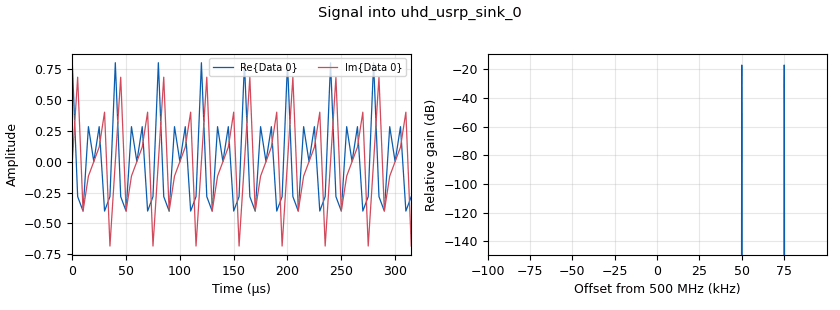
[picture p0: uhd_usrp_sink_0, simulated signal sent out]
<?xml version='1.0' encoding='utf-8'?>
<?grc format='1' created='3.7.11'?>
<flow_graph>
<block>
<key>options</key>
<param><key>id</key><value>top_block</value></param>
<param><key>generate_options</key><value>qt_gui</value></param>
</block>
<block>
<key>variable</key>
<param><key>id</key><value>bb_ampl</value></param>
<param><key>value</key><value>0.4</value></param>
</block>
<block>
<key>variable_qtgui_range</key>
<param><key>id</key><value>center_freq</value></param>
<param><key>value</key><value>500e6</value></param>
<param><key>orient</key><value>Qt.Horizontal</value></param>
<param><key>start</key><value>500e6</value></param>
<param><key>step</key><value>100e6</value></param>
<param><key>stop</key><value>2800e6</value></param>
</block>
<block>
<key>variable</key>
<param><key>id</key><value>center_freq</value></param>
<param><key>_enabled</key><value>0</value></param>
<param><key>value</key><value>1.45e9</value></param>
</block>
<block>
<key>variable</key>
<param><key>id</key><value>samp_rate</value></param>
<param><key>value</key><value>100e6/500</value></param>
</block>
<block>
<key>variable</key>
<param><key>id</key><value>sbx_db_gain</value></param>
<param><key>value</key><value>15.0</value></param>
</block>
<block>
<key>variable</key>
<param><key>id</key><value>tone_freq</value></param>
<param><key>value</key><value>50e3</value></param>
</block>
<block>
<key>analog_sig_source_x</key>
<param><key>id</key><value>analog_sig_source_x_0</value></param>
<param><key>amp</key><value>bb_ampl</value></param>
<param><key>freq</key><value>tone_freq</value></param>
<param><key>offset</key><value>0</value></param>
<param><key>type</key><value>complex</value></param>
<param><key>samp_rate</key><value>samp_rate</value></param>
<param><key>waveform</key><value>analog.GR_COS_WAVE</value></param>
</block>
<block>
<key>analog_sig_source_x</key>
<param><key>id</key><value>analog_sig_source_x_0_0</value></param>
<param><key>amp</key><value>bb_ampl</value></param>
<param><key>freq</key><value>tone_freq+25e3</value></param>
<param><key>offset</key><value>0</value></param>
<param><key>type</key><value>complex</value></param>
<param><key>samp_rate</key><value>samp_rate</value></param>
<param><key>waveform</key><value>analog.GR_COS_WAVE</value></param>
</block>
<block>
<key>blocks_add_xx</key>
<param><key>id</key><value>blocks_add_xx_0</value></param>
<param><key>type</key><value>complex</value></param>
</block>
<block>
<key>blocks_file_sink</key>
<param><key>id</key><value>blocks_file_sink_0</value></param>
<param><key>file</key><value>/home/radio1/sa_debug/dummy.bin</value></param>
<param><key>type</key><value>byte</value></param>
<param><key>vlen</key><value>4096</value></param>
</block>
<block>
<key>dpd_Agilent_N1996A</key>
<param><key>id</key><value>dpd_Agilent_N1996A_0</value></param>
<param><key>frequency</key><value>center_freq</value></param>
<param><key>ip_addr</key><value>169.254.251.20</value></param>
<param><key>nb_points</key><value>1001</value></param>
<param><key>resbw</key><value>5.1e3</value></param>
<param><key>span</key><value>1000e3</value></param>
</block>
<block>
<key>uhd_usrp_sink</key>
<param><key>id</key><value>uhd_usrp_sink_0</value></param>
<param><key>ant0</key><value></value></param>
<param><key>center_freq0</key><value>center_freq</value></param>
<param><key>norm_gain0</key><value>False</value></param>
<param><key>gain0</key><value>sbx_db_gain</value></param>
<param><key>clock_rate</key><value>0.0</value></param>
<param><key>dev_addr</key><value>"addr=192.168.10.2"</value></param>
<param><key>dev_args</key><value>""</value></param>
<param><key>type</key><value>fc32</value></param>
<param><key>samp_rate</key><value>samp_rate</value></param>
<param><key>hide_cmd_port</key><value>False</value></param>
<param><key>hide_lo_controls</key><value>False</value></param>
<param><key>sync</key><value></value></param>
<param><key>len_tag_name</key><value></value></param>
</block>
<connection><source_block_id>analog_sig_source_x_0</source_block_id><sink_block_id>blocks_add_xx_0</sink_block_id><source_key>0</source_key><sink_key>0</sink_key></connection>
<connection><source_block_id>analog_sig_source_x_0_0</source_block_id><sink_block_id>blocks_add_xx_0</sink_block_id><source_key>0</source_key><sink_key>1</sink_key></connection>
<connection><source_block_id>blocks_add_xx_0</source_block_id><sink_block_id>uhd_usrp_sink_0</sink_block_id><source_key>0</source_key><sink_key>0</sink_key></connection>
<connection><source_block_id>dpd_Agilent_N1996A_0</source_block_id><sink_block_id>blocks_file_sink_0</sink_block_id><source_key>0</source_key><sink_key>0</sink_key></connection>
</flow_graph>
